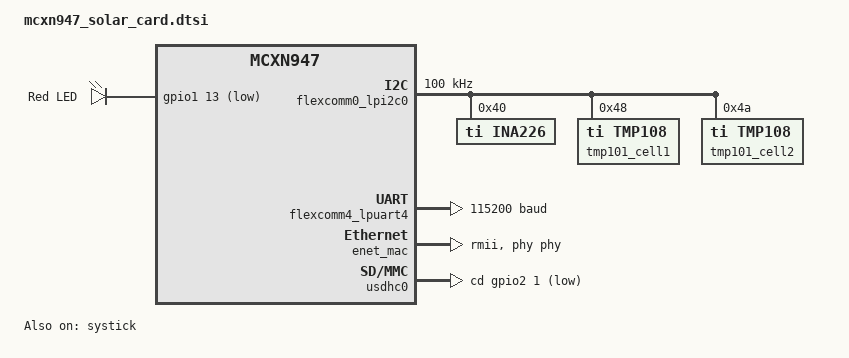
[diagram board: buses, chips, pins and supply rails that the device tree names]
/*
 * Copyright 2024 NXP
 *
 * SPDX-License-Identifier: Apache-2.0
 */

#include "mcxn947_solar_card-pinctrl.dtsi"
#include <zephyr/dt-bindings/i2c/i2c.h>
#include <zephyr/dt-bindings/input/input-event-codes.h>


/ {
	aliases{
		led0 = &red_led;
	};

	leds {
		compatible = "gpio-leds";
		red_led: led_1 {
			gpios = <&gpio1 13 GPIO_ACTIVE_LOW>;
			label = "Red LED";
			status = "okay";
		};
	};

	gpio_keys {
		compatible = "gpio-keys";
		user_button_2: button_0 {
			label = "User SW2";
			gpios = <&gpio0 23 (GPIO_ACTIVE_LOW | GPIO_PULL_UP)>;
			zephyr,code = <INPUT_KEY_0>;
			status = "disabled";
		};
		user_button_3: button_1 {
			label = "User SW3";
			gpios = <&gpio0 6 (GPIO_ACTIVE_LOW | GPIO_PULL_UP)>;
			zephyr,code = <INPUT_KEY_1>;
			status = "disabled";
		};
	};
};

&flexcomm1_lpspi1 {
	pinctrl-0 = <&pinmux_flexcomm1_lpspi>;
	pinctrl-names = "default";
	status = "disabled";
};

&flexcomm2_lpuart2 {
	current-speed = <115200>;
	pinctrl-0 = <&pinmux_flexcomm2_lpuart>;
	pinctrl-names = "default";
	status = "disabled";
};

&flexcomm0_lpi2c0 {
	pinctrl-0 = <&pinmux_flexcomm0_lpi2c>;
	pinctrl-names = "default";
	clock-frequency = <I2C_BITRATE_STANDARD>;
	status = "okay";

	ina226: ina226@40 {
		compatible = "ti,ina226";
		reg = <0x40>;
        operating-mode = "Shunt and Bus, Continuous";
		current-lsb-microamps = <20>; //pulled from chibios app
		rshunt-micro-ohms = <100000>;
        vbus-conversion-time-us = <588>;
        vshunt-conversion-time-us = <588>;
        avg-count = <1>;
		status = "okay";
	};
	tmp101_cell1: tmp108@48 {
		compatible = "ti,tmp108";
		reg = <0x48>;
		status = "okay";
	};
	tmp101_cell2: tmp108@4a {
		compatible = "ti,tmp108";
		reg = <0x4a>;
		status = "okay";
	};
};

&flexcomm4_lpuart4 {
	current-speed = <115200>;
	pinctrl-0 = <&pinmux_flexcomm4_lpuart>;
	pinctrl-names = "default";
	status = "okay";
};

/* SmartDMA is used for video driver on this board */
&smartdma {
	/* Shields do not enable video-sdma parent node so enable it by default */
	program-mem = <0x4000000>;
	status = "disabled";

	video_sdma: video-sdma {
		compatible = "nxp,video-smartdma";
		pinctrl-0 = <&pinmux_smartdma_camera>;
		pinctrl-names = "default";
		vsync-pin = <4>;
		hsync-pin = <11>;
		pclk-pin = <5>;
		status = "disabled";
	};
};

/*
 * MCXN947 board uses OS timer as the kernel timer
 * In case we need to switch to SYSTICK timer, then
 * replace &os_timer with &systick
 */
&os_timer {
	status = "disabled";
};

&systick {
	status = "okay";
};

&sram {
	sramg: memory@20050000 {
		compatible = "mmio-sram";
		reg = <0x20050000 DT_SIZE_K(64)>;
	};
	sramh: memory@20060000 {
		compatible = "mmio-sram";
		reg = <0x20060000 DT_SIZE_K(32)>;
	};
};

&flash {
	partitions {
		compatible = "fixed-partitions";
		#address-cells = <1>;
		#size-cells = <1>;

		/*
		 * Partition sizes must be aligned
		 * to the flash memory sector size of 8KB.
		 */
		boot_partition: partition@0 {
			label = "mcuboot";
			reg = <0x00000000 DT_SIZE_K(80)>;
		};
		slot0_partition: partition@14000 {
			label = "image-0";
			reg = <0x00014000 DT_SIZE_K(984)>;
		};
		slot1_partition: partition@10A000 {
			label = "image-1";
			reg = <0x0010A000 DT_SIZE_K(984)>;
		};
		/* storage_partition is placed in WINBOND flash memory*/
	};
};

&flexspi {
	pinctrl-0 = <&pinmux_flexspi>;
	pinctrl-names = "default";
	ahb-prefetch;
	ahb-bufferable;
	ahb-cacheable;
	ahb-read-addr-opt;
	combination-mode;
	rx-clock-source = <1>;
	status = "disabled";
};

&dac0 {
	pinctrl-0 = <&pinmux_dac0>;
	pinctrl-names = "default";
};

&dac1 {
	pinctrl-0 = <&pinmux_dac1>;
	pinctrl-names = "default";
};

&sai1 {
	pinctrl-0 = <&pinmux_sai1>;
	pinctrl-names = "default";
};

&sai0 {
	pinctrl-0 = <&pinmux_sai0>;
	pinctrl-names = "default";
};

&enet {
	pinctrl-0 = <&pinmux_enet_qos>;
	pinctrl-names = "default";
};

&enet_mac {
	phy-connection-type = "rmii";
	zephyr,random-mac-address;
	phy-handle = <&phy>;
};

&enet_mdio {
	phy: ethernet-phy@0 {
		compatible = "ethernet-phy";
		reg = <0>;
		status = "disabled";
	};
};

&flexpwm1_pwm0 {
	pinctrl-0 = <&pinmux_flexpwm1_pwm0>;
	pinctrl-names = "default";
};

&usdhc0 {
	pinctrl-0 = <&pinmux_usdhc0>;
	pinctrl-1 = <&pinmux_usdhc0>;
	pinctrl-2 = <&pinmux_usdhc0>;
	cd-gpios = <&gpio2 1 GPIO_ACTIVE_LOW>;
	pinctrl-names = "default", "slow", "med";
	no-1-8-v;
};

&lpadc0 {
	pinctrl-0 = <&pinmux_lpadc0>;
	pinctrl-names = "default";
	status = "disabled";
};

zephyr_mipi_dbi_parallel: &flexio0_lcd {
	/* DMA channels 0, muxed to FlexIO TX */
	dmas = <&edma0 0 61>;
	dma-names = "tx";
	shifters-count = <8>;
	timers-count = <1>;
	enwr-pin = <1>;
	rd-pin = <0>;
	data-pin-start = <16>;
	reset-gpios = <&gpio4 7 GPIO_ACTIVE_HIGH>;
	cs-gpios = <&gpio0 12 GPIO_ACTIVE_HIGH>;
	rs-gpios = <&gpio0 7 GPIO_ACTIVE_HIGH>;
	pinctrl-0 = <&pinmux_flexio_lcd>;
	pinctrl-names = "default";
	status = "disabled";
};

&lpcmp0 {
	pinctrl-0 = <&pinmux_lpcmp0>;
	pinctrl-names = "default";
};

&i3c1 {
	pinctrl-0 = <&pinmux_i3c1>;
	pinctrl-names = "default";
	status = "disabled";
};

&flexcan0 {
	pinctrl-0 = <&pinmux_flexcan0>;
	pinctrl-names = "default";
};

&sc_timer {
	pinctrl-0 = <&pinmux_sctimer>;
	pinctrl-names = "default";
};

dvp_20pin_interface: &video_sdma {
	status = "disabled";
};
